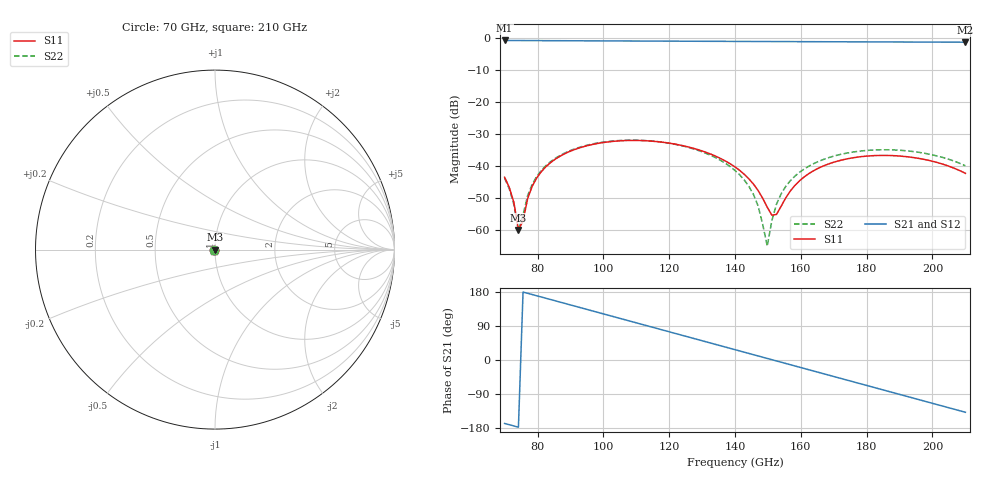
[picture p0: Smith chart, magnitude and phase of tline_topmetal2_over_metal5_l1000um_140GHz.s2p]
#  GHZ S DB R 50
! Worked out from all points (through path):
!   101 points, 70 GHz to 210 GHz, reference 50 ohm
!   highest |S21| = -0.89 dB at 70 GHz (marker M1); lowest = -1.4 dB at 210 GHz (marker M2)
!   group delay of S21, straight-line fit = 6.56 ps
!   lowest |S11| = -59.9 dB at 74.2 GHz (marker M3), VSWR 1.00, Z = 50 - j0.0983 ohm
!   |S11| at or under -10 dB: start of sweep to end of sweep
!   |S22| runs from -64.9 to -31.9 dB; largest |S21 - S12| = 1e-13
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70  -43.47 -134.6  -0.89 -167.4  -0.89 -167.4  -43.77 -133.1
72.8  -51.22 -131.9  -0.91 -174.0  -0.91 -174.0  -51.92 -126.7
74.2  -59.86 -104.5  -0.91 -177.4  -0.91 -177.4  -60.07 -85.2
75.6  -57.08 -5.4  -0.92 179.3  -0.92 179.3  -55.13 -5.2
77  -50.11 9.3  -0.93 176.0  -0.93 176.0  -49.18 7.5
79.8  -43.62 9.9  -0.94 169.4  -0.94 169.4  -43.15 8.6
85.4  -37.83 -0.1  -0.97 156.2  -0.97 156.2  -37.57 -1.0
93.8  -34.00 -18.7  -1.00 136.4  -1.00 136.4  -33.83 -19.3
106.4  -32.07 -48.2  -1.05 106.6  -1.05 106.6  -31.97 -48.4
117.6  -32.52 -75.3  -1.10 80.2  -1.10 80.2  -32.52 -75.0
130.2  -35.35 -107.1  -1.15 50.4  -1.15 50.4  -35.63 -105.7
140  -40.26 -135.1  -1.19 27.3  -1.19 27.3  -41.36 -131.1
145.6  -45.59 -157.3  -1.21 14.0  -1.21 14.0  -48.81 -149.7
147  -47.57 -165.6  -1.21 10.7  -1.21 10.7  -52.35 -157.7
149.8  -52.80 164.5  -1.23 4.1  -1.23 4.1  -64.92 108.7
151.2  -55.27 133.3  -1.23 0.8  -1.23 0.8  -56.97 48.7
154  -52.53 65.1  -1.24 -5.8  -1.24 -5.8  -48.66 27.4
158.2  -46.02 29.6  -1.26 -15.7  -1.26 -15.7  -43.13 13.0
163.8  -41.48 7.6  -1.28 -28.9  -1.28 -28.9  -39.28 -2.5
176.4  -37.32 -28.7  -1.32 -58.6  -1.32 -58.6  -35.54 -34.9
187.6  -36.73 -58.9  -1.36 -85.1  -1.36 -85.1  -34.95 -63.8
210  -42.26 -127.1  -1.44 -137.9  -1.44 -137.9  -39.90 -127.4
